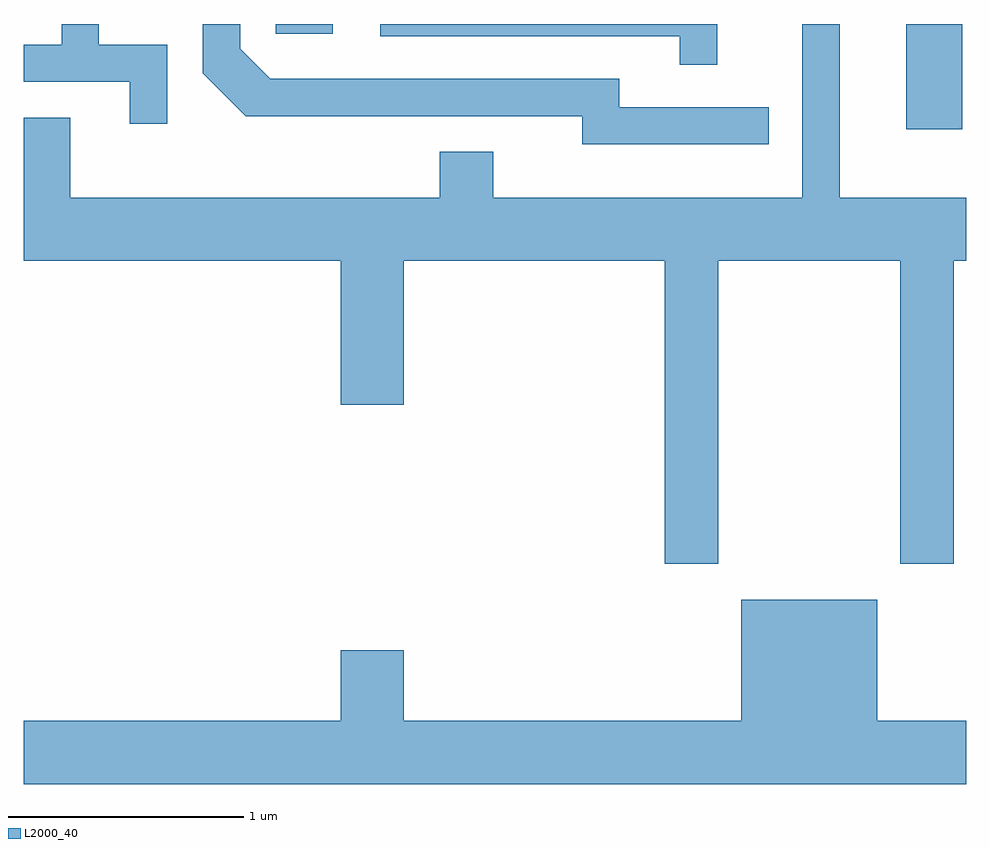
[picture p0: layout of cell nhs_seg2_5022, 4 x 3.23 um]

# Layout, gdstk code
import gdstk
lib = gdstk.Library(unit=1e-6, precision=1e-09)
def R(c, l, rs):  # rectangles x0, y0, x1, y1
    for r in rs: c.add(gdstk.rectangle(r[:2], r[2:], *l))
def P(c, l, *ps):  # polygons
    for p in ps: c.add(gdstk.Polygon(p, *l))
L2000_40 = (2000, 40)

nhs_seg2_5022 = lib.new_cell('nhs_seg2_5022')
R(nhs_seg2_5022, L2000_40, [(337.356,1013.356,337.594,1013.802), (334.681,1013.761,334.923,1013.802)])
P(nhs_seg2_5022, L2000_40, [(336.559,1012.796),(337.331,1012.796),(337.331,1011.511),(337.559,1011.511),(337.559,1012.796),(337.611,1012.796),(337.611,1013.064),(337.074,1013.064),(337.074,1013.802),(336.916,1013.802),(336.916,1013.064),(335.604,1013.064),(335.604,1013.259),(335.376,1013.259),(335.376,1013.064),(333.809,1013.064),(333.809,1013.404),(333.611,1013.404),(333.611,1012.796),(334.956,1012.796),(334.956,1012.186),(335.224,1012.186),(335.224,1012.796),(336.331,1012.796),(336.331,1011.511),(336.559,1011.511)],
  [(336.773,1013.449),(336.139,1013.449),(336.139,1013.569),(334.657,1013.569),(334.529,1013.697),(334.529,1013.802),(334.371,1013.802),(334.371,1013.594),(334.554,1013.411),(335.981,1013.411),(335.981,1013.291),(336.773,1013.291)],
  [(334.219,1013.714),(333.929,1013.714),(333.929,1013.802),(333.771,1013.802),(333.771,1013.714),(333.611,1013.714),(333.611,1013.556),(334.061,1013.556),(334.061,1013.378),(334.219,1013.378)],
  [(336.554,1013.802),(335.123,1013.802),(335.123,1013.751),(336.396,1013.751),(336.396,1013.628),(336.554,1013.628)],
  [(337.611,1010.844),(337.234,1010.844),(337.234,1011.359),(336.656,1011.359),(336.656,1010.844),(335.224,1010.844),(335.224,1011.144),(334.956,1011.144),(334.956,1010.844),(333.611,1010.844),(333.611,1010.576),(337.611,1010.576)])

lib.write_gds('nhs_seg2_5022.gds')
